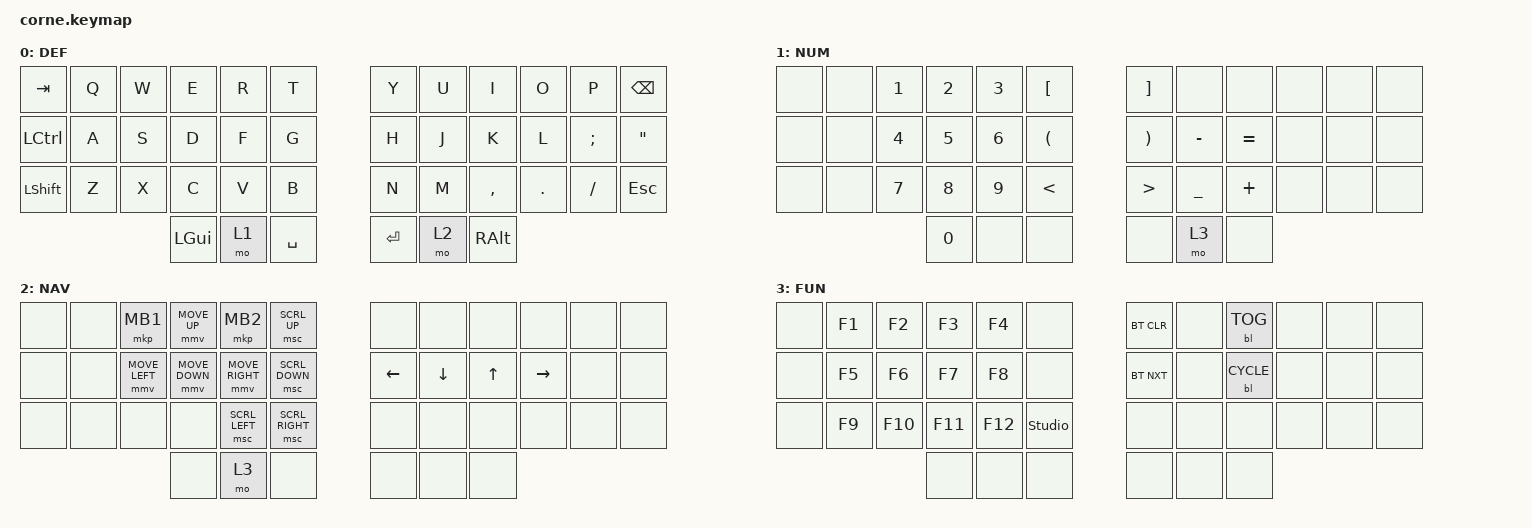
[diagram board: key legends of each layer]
/*
 * Copyright (c) 2020 The ZMK Contributors
 *
 * SPDX-License-Identifier: MIT
 */

#include <behaviors.dtsi>
#include <dt-bindings/zmk/backlight.h>
#include <dt-bindings/zmk/bt.h>
#include <dt-bindings/zmk/keys.h>
#include <dt-bindings/zmk/pointing.h>

/ {
    keymap {
        compatible = "zmk,keymap";

        DEF {
            bindings = <
&kp TAB    &kp Q  &kp W  &kp E     &kp R  &kp T        &kp Y      &kp U  &kp I      &kp O    &kp P     &kp BACKSPACE
&kp LCTRL  &kp A  &kp S  &kp D     &kp F  &kp G        &kp H      &kp J  &kp K      &kp L    &kp SEMI  &kp DOUBLE_QUOTES
&kp LSHFT  &kp Z  &kp X  &kp C     &kp V  &kp B        &kp N      &kp M  &kp COMMA  &kp DOT  &kp FSLH  &kp ESC
                         &kp LGUI  &mo 1  &kp SPACE    &kp ENTER  &mo 2  &kp RALT
            >;
        };

        NUM {
            bindings = <
&none  &none  &kp N1  &kp N2  &kp N3  &kp LBKT                &kp RBKT               &none      &none      &none  &none  &none
&none  &none  &kp N4  &kp N5  &kp N6  &kp LEFT_PARENTHESIS    &kp RIGHT_PARENTHESIS  &kp MINUS  &kp EQUAL  &none  &none  &none
&none  &none  &kp N7  &kp N8  &kp N9  &kp LESS_THAN           &kp GREATER_THAN       &kp UNDER  &kp PLUS   &none  &none  &none
                      &kp N0  &none   &none                   &none                  &mo 3      &none
            >;
        };

        NAV {
            bindings = <
&none  &none  &mkp MB1        &mmv MOVE_UP    &mkp MB2         &msc SCRL_UP       &none     &none     &none   &none      &none  &none
&none  &none  &mmv MOVE_LEFT  &mmv MOVE_DOWN  &mmv MOVE_RIGHT  &msc SCRL_DOWN     &kp LEFT  &kp DOWN  &kp UP  &kp RIGHT  &none  &none
&none  &none  &none           &none           &msc SCRL_LEFT   &msc SCRL_RIGHT    &none     &none     &none   &none      &none  &none
                              &none           &mo 3            &none              &none     &none     &none
            >;
        };

        FUN {
            bindings = <
&none  &kp F1  &kp F2   &kp F3   &kp F4   &none             &bt BT_CLR  &none  &bl BL_TOG    &none  &none  &none
&none  &kp F5  &kp F6   &kp F7   &kp F8   &none             &bt BT_NXT  &none  &bl BL_CYCLE  &none  &none  &none
&none  &kp F9  &kp F10  &kp F11  &kp F12  &studio_unlock    &none       &none  &none         &none  &none  &none
                        &none    &none    &none             &none       &none  &none
            >;
        };
    };
};

&led_strip { chain-length = <27>; };
